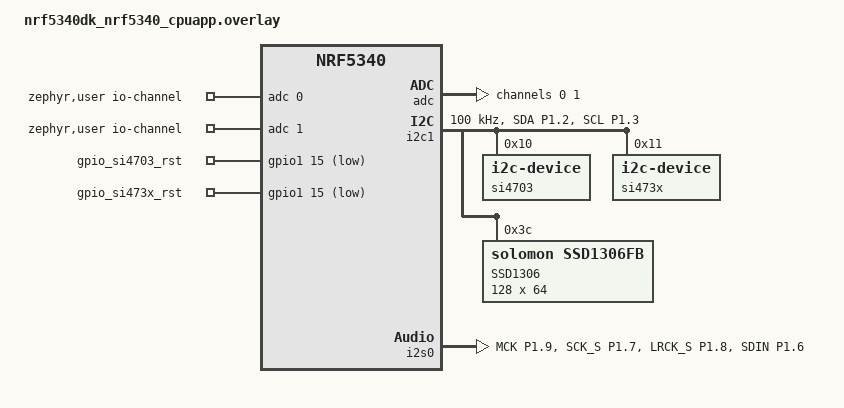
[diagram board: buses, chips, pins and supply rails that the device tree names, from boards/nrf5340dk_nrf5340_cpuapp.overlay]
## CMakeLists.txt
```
cmake_minimum_required(VERSION 3.20.0)

set(PROJ_ROOT ${CMAKE_CURRENT_SOURCE_DIR})
set(BOARD_ROOT ${CMAKE_CURRENT_SOURCE_DIR}/..)
set(TREE_ROOT ${CMAKE_CURRENT_SOURCE_DIR}/../..)
set(COMPONENTS_DIR ${TREE_ROOT}/components)
set(DRIVERS_DIR ${TREE_ROOT}/drivers)
set(APPLICATION_DIR ${PROJ_ROOT}/src)

# include our common cmake functions
include(${TREE_ROOT}/helpers.cmake)

#list(APPEND OVERLAY_CONFIG "${PROJ_ROOT}/prj.conf")

list(APPEND DTS_ROOT ${TREE_ROOT})

find_package(Zephyr REQUIRED HINTS $ENV{ZEPHYR_BASE})
project(teslaradio)

add_component(settings)
add_component(asserts)
if(CONFIG_BT)
  add_component(ble)
endif()
add_component(tuner)
add_component(si4703)
add_component(si473x)
if(CONFIG_DISPLAY)
  add_component(ssd1306)
endif()
add_component(audioin)
add_component(tones)

set(APPLICATION_SRCS
  ${APPLICATION_DIR}/main.c
  ${APPLICATION_DIR}/usb_msc.c
  ${APPLICATION_DIR}/vfs.c
  ${APPLICATION_DIR}/vdisk.c
)

set(COMPONENTS_SRCS
)

target_sources(app PRIVATE
  ${APPLICATION_SRCS}
  ${COMPONENTS_SRCS}
)

target_include_directories(app PRIVATE
  ${APPLICATION_DIR}
)
```

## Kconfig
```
# Copyright (c) 2016 Wind River Systems, Inc.
# SPDX-License-Identifier: Apache-2.0

menuconfig USB_MASS_VSTORAGE
	bool "USB Mass Storage Device Class support"
	select DISK_ACCESS
	help
	  USB Mass Storage device class support

if USB_MASS_VSTORAGE

config MASS_STORAGE_DISK_NAME
	string "name of disk"
	default "tradio"

config MASS_STORAGE_INQ_VENDOR_ID
	string "T10 assigned vendor ID for inquiry (must be 8 characters)"
	default "ZEPHYR  "
	help
	  Vendor ID used for enquiry requests.
	  Spaces must be added to bring the string to 8 bytes.

config MASS_STORAGE_INQ_PRODUCT_ID
	string "Product ID for inquiry (must be 16 characters)"
	default "ZEPHYR USB DISK "
	help
	  Product ID used for enquiry requests.
	  Spaces must be added to bring the string to 16 bytes.

config MASS_STORAGE_INQ_REVISION
	string "Revision for inquiry (must be 4 characters)"
	default "0.01"
	help
	  Revision used for enquiry requests.
	  Spaces must be added to bring the string to 4 bytes.

config MASS_STORAGE_BULK_EP_MPS
	int
	default 512 if USB_DC_HAS_HS_SUPPORT
	default 64
	help
	  Mass storage device class bulk endpoints size

config MASS_STORAGE_STACK_SIZE
	int "Set stack size for mass storage thread"
	default 786 if SD_STACK
	default 512
	help
	  Stack size for mass storage disk operations thread

config APP_MSC_STORAGE_VRAM
	bool "Use virtual RAM disk and FAT file system"
	imply DISK_DRIVERS

endif

source "Kconfig.zephyr"
```

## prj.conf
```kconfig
# Common Configuration for Thread on Nordic DK boards

CONFIG_SIZE_OPTIMIZATIONS=y

# Both 5340 and 52840 have h/w float
CONFIG_FPU=y

# UART
CONFIG_UART_INTERRUPT_DRIVEN=y
CONFIG_SERIAL=y
CONFIG_GPIO=y
CONFIG_ADC=y
CONFIG_I2C=y
CONFIG_LED=y
CONFIG_PWM=y
CONFIG_I2S=y

CONFIG_DISPLAY=y

CONFIG_SSD1306=y
CONFIG_SSD1306_DEFAULT_CONTRAST=128
CONFIG_SSD1306_DEFAULT=y

CONFIG_CHARACTER_FRAMEBUFFER=y
CONFIG_CHARACTER_FRAMEBUFFER_USE_DEFAULT_FONTS=n

# Watchdog
CONFIG_WATCHDOG=y

# USB device
CONFIG_USB_DEVICE_STACK=y
CONFIG_USB_DEVICE_PRODUCT="Teslaradio"
CONFIG_USB_DEVICE_LOG_LEVEL_ERR=y
CONFIG_USB_MASS_STORAGE_LOG_LEVEL_INF=y
CONFIG_USB_DEVICE_PID=0x0008
CONFIG_USB_DEVICE_VID=0x0008
CONFIG_USB_DEVICE_INITIALIZE_AT_BOOT=n

CONFIG_USB_MASS_VSTORAGE=y

CONFIG_MASS_STORAGE_INQ_VENDOR_ID="BDodge  "
CONFIG_MASS_STORAGE_INQ_PRODUCT_ID="TeslaRadio Disk "
CONFIG_MASS_STORAGE_INQ_REVISION="0.01"
CONFIG_MASS_STORAGE_STACK_SIZE=512

# BlueTooth
CONFIG_BT=y
CONFIG_BT_SETTINGS=y
CONFIG_BT_PERIPHERAL=y
CONFIG_BT_DEVICE_NAME="Teslaradio"
CONFIG_BT_DEVICE_NAME_DYNAMIC=y
CONFIG_BT_MAX_CONN=2
CONFIG_BT_SMP=y
CONFIG_BT_MAX_PAIRED=2

# Bluetooth Buffer Configuration
CONFIG_BT_BUF_ACL_RX_SIZE=251
CONFIG_BT_BUF_ACL_TX_SIZE=251
CONFIG_BT_L2CAP_TX_MTU=247
CONFIG_BT_CTLR_DATA_LENGTH_MAX=251
CONFIG_BT_L2CAP_TX_BUF_COUNT=4

# set faster connection interval (15ms in 1.25ms units)
CONFIG_BT_PERIPHERAL_PREF_MIN_INT=12
CONFIG_BT_PERIPHERAL_PREF_MAX_INT=24
CONFIG_BT_PERIPHERAL_PREF_LATENCY=1
CONFIG_BT_PERIPHERAL_PREF_TIMEOUT=100

# Enable the BT NUS shell (for now)
CONFIG_SHELL_BT_NUS=y
CONFIG_SHELL_BT_NUS_TX_RING_BUFFER_SIZE=64
CONFIG_SHELL_BT_NUS_RX_RING_BUFFER_SIZE=64

# Enable Zephyr logging on Console, deferred mode makes a ring buffer
# for log output, immediate mode is a direct print to uart. Use
# deferred to non-block threads and to have a buffer to dump to see
# early boot for example from other shells
CONFIG_LOG=y

# -- Option A  log to ring buffer with thread pushing out.  since
#              we can have a few shell back-ends, set the log backend
#              to uart so the other shells dont get logs directly
#
CONFIG_LOG_MODE_DEFERRED=y
CONFIG_LOG_SPEED=y
CONFIG_SHELL_LOG_BACKEND=n
CONFIG_LOG_BACKEND_UART=y
CONFIG_LOG_OUTPUT=y
CONFIG_LOG_BACKEND_UART_AUTOSTART=y

# -- Option B  blocking direct to uart log
#CONFIG_LOG_MODE_IMMEDIATE=y
#CONFIG_LOG_MODE_MINIMAL=y

# console on UART, not RTT
CONFIG_CONSOLE=y
CONFIG_UART_CONSOLE=y
CONFIG_RTT_CONSOLE=n
CONFIG_USE_SEGGER_RTT=n

# Shell
CONFIG_SHELL=y
#this saves about 1k in buffers, and flash, but gets rid of system shell cmds
#CONFIG_SHELL_MINIMAL=y
# Needed to enable shell root command APIs
CONFIG_SHELL_CMDS_SELECT=y
CONFIG_SHELL_PROMPT_UART="tradio> "

# Include settings
CONFIG_FLASH=y
CONFIG_FLASH_PAGE_LAYOUT=y
CONFIG_FLASH_MAP=y
CONFIG_NVS=y
CONFIG_SETTINGS=y

# Hardware Info Support
CONFIG_HWINFO=y
CONFIG_HWINFO_NRF=y

# Generic networking options
CONFIG_NETWORKING=y

CONFIG_ASSERT=y
CONFIG_ASSERT_NO_COND_INFO=y

# Spi
CONFIG_SPI=y
CONFIG_SPI_NRFX=y

CONFIG_MAIN_STACK_SIZE=6500

# Use mbedtls s/w crypto since nordics psa doesnt support
# things like key deriviation
#
CONFIG_NRF_SECURITY=y
CONFIG_MBEDTLS_LEGACY_CRYPTO_C=y
CONFIG_MBEDTLS_USE_PSA_CRYPTO=y
CONFIG_MBEDTLS_PSA_CRYPTO_C=y
CONFIG_PSA_CRYPTO_DRIVER_OBERON=y
CONFIG_OBERON_BACKEND=y
CONFIG_MBEDTLS_ENABLE_HEAP=y
CONFIG_MBEDTLS_HEAP_SIZE=8192
CONFIG_MBEDTLS_PK_WRITE_C=y
CONFIG_MBEDTLS_AES_C=y
CONFIG_MBEDTLS_CIPHER_MODE_CBC=y
CONFIG_MBEDTLS_ECP_C=y
CONFIG_MBEDTLS_GCM_C=y
CONFIG_MBEDTLS_CHACHA20_C=y
CONFIG_MBEDTLS_CTR_DRBG_C=y
```

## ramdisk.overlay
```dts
/ {
	soc {
		flash_controller2: flash-controller@2 {
			compatible = "zephyr,sim-flash";
			reg = <0x00000000 DT_SIZE_K(32)>;

			#address-cells = <1>;
			#size-cells = <1>;
			erase-value = <0xff>;

			flash_sim0: flash_sim@0 {
				status = "okay";
				compatible = "soc-nv-flash";
				erase-block-size = <512>;
				write-block-size = <1>;
				reg = <0x00000000 DT_SIZE_K(32)>;

				partitions {
					compatible = "fixed-partitions";
					#address-cells = <1>;
					#size-cells = <1>;

					lfsram_partition: partition@0 {
						label = "lfsram";
						reg = <0x00000000 0x000008000>;
					};
				};
			};
		};
	};
};

/ {
	fstab {
		compatible = "zephyr,fstab";
		lfsram: lfsram {
			compatible = "zephyr,fstab,littlefs";
			mount-point = "/lfsram";
			partition = <&lfsram_partition>;
			automount;
			read-size = <16>;
			prog-size = <16>;
			cache-size = <64>;
			lookahead-size = <32>;
			block-cycles = <512>;
		};
	};
};
```

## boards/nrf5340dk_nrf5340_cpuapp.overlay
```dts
&gpiote {
    status = "okay";
};

&gpio0 {
    status = "okay";
};

&gpio1 {
    status = "okay";
};


/ {
	zephyr,user {
		io-channels = <&adc 0>, <&adc 1>;
	};
};

&adc {
	#address-cells = <1>;
	#size-cells = <0>;

	channel@0 {
		reg = <0>;
		zephyr,gain = "ADC_GAIN_1_6";
		zephyr,reference = "ADC_REF_INTERNAL";
		zephyr,acquisition-time = <ADC_ACQ_TIME_DEFAULT>;
		zephyr,input-positive = <NRF_SAADC_AIN0>; /* P0.04 */
		zephyr,resolution = <14>;
	};

	channel@1 {
		reg = <1>;
		zephyr,gain = "ADC_GAIN_1_6";
		zephyr,reference = "ADC_REF_INTERNAL";
		zephyr,acquisition-time = <ADC_ACQ_TIME_DEFAULT>;
		zephyr,input-positive = <NRF_SAADC_AIN1>; /* P0.05 */
		zephyr,resolution = <14>;
	};
};

&i2c1 {
    compatible = "nordic,nrf-twim";
	zephyr,flash-buf-max-size = <2048>;
    status = "okay";
    clock-frequency = <I2C_BITRATE_STANDARD>;
    pinctrl-0 = <&i2c1_default>;
    pinctrl-1 = <&i2c1_sleep>;
    pinctrl-names = "default", "sleep";

    /* SI4703 FM Radio*/
    si4703: si4703@10 {
        compatible = "i2c-device";
        reg = <0x10>;
        status = "okay";
    };

    /* SI4732 FM Radio*/
    si473x: si473x@11 {
        compatible = "i2c-device";
        reg = <0x11>;
        status = "okay";
    };

	/* SSD1306 OLED display */
    display: ssd1306@3c {
        compatible = "solomon,ssd1306fb";
        reg = <0x3c>;
        label = "SSD1306";
        height = <64>;
        width  = <128>;
        segment-offset  = <0>;
        page-offset     = <0>;
        display-offset  = <0>;
        multiplex-ratio = <31>;
        prechargep      = <0xD1>;
        segment-remap;
        com-invdir;
        com-sequential;
    };
};

&clock {
	hfclkaudio-frequency = <11289600>;
};

i2s_rx: &i2s0 {

	status = "okay";
	pinctrl-0 = <&i2s0_default>;
	pinctrl-1 = <&i2s0_sleep>;
	pinctrl-names = "default", "sleep";
	clock-source = "ACLK";
//	clock-source = "PCLK32M";
};

/ {
    gpios {
        compatible = "gpio-leds";

        gpio_si4703_rst: gpio_si4703_rst {
            gpios = <&gpio1 15 (GPIO_ACTIVE_LOW | GPIO_PUSH_PULL)>;
            status = "okay";
        };
        gpio_si473x_rst: gpio_si473x_rst {
            gpios = <&gpio1 15 (GPIO_ACTIVE_LOW | GPIO_PUSH_PULL)>;
            status = "okay";
        };
	};
};

&pinctrl {
	i2c1_default: i2c1_default {
		group1 {
			psels = <NRF_PSEL(TWIM_SDA, 1, 2)>,
				<NRF_PSEL(TWIM_SCL, 1, 3)>;
	        bias-pull-up;
		};
	};

	i2c1_sleep: i2c1_sleep {
		group1 {
			psels = <NRF_PSEL(TWIM_SDA, 1, 2)>,
				<NRF_PSEL(TWIM_SCL, 1, 3)>;
			low-power-enable;
	        bias-pull-up;
		};
	};

	i2s0_default: i2s0_default {
		group1 {
			psels =	<NRF_PSEL(I2S_MCK, 1, 9)>,			// Master Clock
					<NRF_PSEL(I2S_SCK_S, 1, 7)>,		// Bit Clock
					<NRF_PSEL(I2S_LRCK_S, 1, 8)>,		// Word Selection Clock
					<NRF_PSEL(I2S_SDIN, 1, 6)>;			// Data in
		};
	};

	i2s0_sleep: i2s0_sleep {
		group1 {
			low-power-enable;
			psels =	<NRF_PSEL(I2S_MCK, 1, 9)>,			// Master Clock
					<NRF_PSEL(I2S_SCK_S, 1, 7)>,		// Bit Clock
					<NRF_PSEL(I2S_LRCK_S, 1, 8)>,		// Word Selection Clock
					<NRF_PSEL(I2S_SDIN, 1, 6)>;			// Data in
		};
	};

};
```

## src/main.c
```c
#include <stdio.h>
#include <zephyr/kernel.h>
#include "autoconf.h"
#include <zephyr/logging/log.h>
LOG_MODULE_REGISTER(main, LOG_LEVEL_INF);

#include "asserts.h"
#if CONFIG_DISPLAY
#include "display.h"
#endif
#if CONFIG_BT
#include "tr_ble.h"
#endif
#include "settings.h"
#include "audioin.h"
#include "si4703.h"
#include "si473x.h"
#include "vfs.h"

static uint32_t s_requested_freq;
static bool s_have_display;
static bool s_have_tuner;

int TunerRequestTuneTo(uint32_t freq_kHz)
{
    s_requested_freq = freq_kHz;
    return 0;
}

#if CONFIG_DISPLAY
static void UpdateDisplay(void)
{
    //static char rds_name[65];
    static char rds_text[65];
    static uint32_t rds_offset;
    static uint64_t rds_scroll;
    static uint32_t freq;
    static bool stereo;

    char rds_display[65];
    uint32_t curfreq;
    uint8_t  currssi;
    bool     curstereo;
    const char *rdsn;
    const char *rdst;

    int ret;

    if (!s_have_display)
    {
        return;
    }

    ret = TunerGetTunedStationFreq(&curfreq);
    ret = TunerGetTunedStationRSSI(&currssi, &curstereo);
    ret = TunerGetTunedStationRDS(&rdsn, &rdst);

    if (!ret)
    {
        char freqtext[8];
        bool rds_dirty = false;
        int i;

        snprintf(freqtext, sizeof(freqtext), "%5.1f", (float)curfreq / 1000.0);

        if (curfreq != freq)
        {
            DisplaySetFont(32);
            DisplayText(0, 4, "      ");
            DisplayText(0, 4, freqtext);
            freq = curfreq;
        }
        if (curstereo != stereo)
        {
            DisplaySetFont(8);
            DisplayText(100, 10, curstereo ? "ST" : "  ");
            stereo = curstereo;
        }

        if (true)
        {
#if 0
            if (memcmp(rdsn, rds_name, sizeof(rds_name)))
            {
                LOG_INF("New RDSN %s", rdsn);
                memcpy(rds_name, rdsn, sizeof(rds_name));
                DisplaySetFont(8);
                DisplayText(0, 0, "                      ");
                DisplayText(8, 0, rds_name);
            }
#endif
#if 1
            uint64_t now = k_uptime_get();
            int rds_room = 24;

            if (memcmp(rdst, rds_text, sizeof(rds_text)))
            {
                LOG_INF("New RDST %s", rdst);
                memcpy(rds_text, rdst, sizeof(rds_text));
                rds_offset = 0;
                rds_dirty = true;
            }

            int rds_len = strlen(rds_text);

            if (rds_len > rds_room)
            {
                if ((now - rds_scroll) > 600)
                {
                    rds_dirty = true;
                    rds_offset++;
                }
            }

            if (rds_dirty)
            {
                uint32_t offset;

                if (rds_len <= rds_room)
                {
                    rds_offset = 0;
                }
                else
                {
                    rds_offset %= rds_len;
                }

                offset = rds_offset;

                for (i = 0; i < rds_room; i++)
                {
                    if (offset >= rds_len)
                    {
                        offset = 0;
                    }

                    if (offset >= rds_len)
                    {
                        rds_display[i] = ' ';
                    }
                    else
                    {
                        rds_display[i] = rds_text[offset];
                        offset++;
                    }
                }

                rds_display[i] = '\0';
                DisplaySetFont(8);
                DisplayText(8, 0, rds_display);
                rds_dirty = false;
            }
        }
#endif
    }
}
#endif

int main(void)
{
    int ret;
    struct station_info *station_list;

    printk("-- Hello --");

    uint32_t delay = 2000;
    uint32_t min_delay;

    ret = SettingsInit();
    require_noerr(ret, exit);

    s_have_display = false;
#if CONFIG_DISPLAY
    ret = DisplayInit();
    if (!ret)
    {
        s_have_display = true;
    }
#endif
    station_list = NULL;
    s_have_tuner = false;

#if CONFIG_473X_DIGITAL
    // init audio as controller (not controllee) since 473x needs
    // to be the controllee in digital mode
    //
    ret = AudioInit(false);
#else
    // be I2S controllee normally
    //
    ret = AudioInit(false);
#endif
    require_noerr(ret, exit);

    // start Audio pipe before starting tuner so mclk is
    // running for digital mode
    //
    AudioStart();

    // bring up i2c tunner, volume set to 0
    //
    ret = TunerInit(SI473XGetRadio(), TUNER_SEEK_BETTER);
    if (ret)
    {
        ret = TunerInit(SI4703GetRadio(), TUNER_SEEK_BETTER);
    }

    if (ret)
    {
        LOG_ERR("No radio found");
    }
    else
    {
        LOG_INF("Tuner Initialied");
        s_have_tuner = true;
    }

#if CONFIG_BT
    ret = BLEinit(CONFIG_BT_DEVICE_NAME);
    require_noerr(ret, exit);
#endif

    bool got_stations = true; // set to false to do a disco on startup
    bool setup_vdisk = false;
    bool tuner_ready = false;
    tuner_state_t tuner_state;

    if (!s_have_tuner)
    {
        ret = vfs_init(station_list, 0, s_have_tuner);
        setup_vdisk = true;
    }
    else
    {
        // using usbms interface, go to near full volume for
        // best dynamic range of A/D
        //
        TunerSetVolume(95);
    }

    while (true)
    {
        min_delay = delay;
        delay = 200;

#if CONFIG_BT
        ret = BLEslice(&delay);
        if (delay < min_delay)
        {
            min_delay = delay;
        }
#endif
        if (s_have_tuner)
        {
            ret = TunerSlice(&delay, &tuner_state);
            if (delay < min_delay)
            {
                min_delay = delay;
            }

            tuner_ready = tuner_state == TUNER_READY || tuner_state == TUNER_TUNED;

            if (tuner_ready && !got_stations)
            {
                got_stations = true;

                TunerDiscoverStations();
            }
            else if (tuner_ready && got_stations && !setup_vdisk)
            {
                uint32_t num_stations;

                ret = TunerGetStations(&station_list, &num_stations);
                if (!ret)
                {
                    setup_vdisk = true;

                    ret = vfs_init(station_list, num_stations, s_have_tuner);
                    if (ret)
                    {
                        break;
                    }
                }
            }
            else if (tuner_ready)
            {
                if (s_requested_freq != 0)
                {
                    LOG_INF("TUNE --------- Requested freg %u", s_requested_freq);
                    TunerTuneTo(s_requested_freq);
                    s_requested_freq = 0;
                }
#if CONFIG_DISPLAY
                else if (s_have_display && tuner_state == TUNER_TUNED)
                {
                    UpdateDisplay();
                }
#endif
            }
        }

        k_msleep(min_delay);
    }
exit:
    while (true)
    {
        k_sleep(K_MSEC(3000));
    }

    return ret;
}
```

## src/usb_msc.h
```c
#pragma once

int mass_storage_init(void);
```

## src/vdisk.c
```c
#include "vdisk.h"
#include "asserts.h"
#include "audioin.h"
#include <zephyr/types.h>
#include <zephyr/drivers/disk.h>
#include <zephyr/init.h>
#include <zephyr/device.h>
#include <zephyr/logging/log.h>
#include <string.h>
#include <errno.h>

LOG_MODULE_REGISTER(vdisk, CONFIG_DISK_LOG_LEVEL);

#include "fs_sects.c"

//#define SECTION_MAX (sizeof(section_sectors)/sizeof(struct sect_desc))

#define VFAT_SECTOR_COUNT ((uint32_t)(VFAT_VOLUME_SIZE / VFAT_SECTOR_SIZE))

#include "taunt.h"

static uint8_t s_wav_header_live[] = {
  0x52, 0x49, 0x46, 0x46,   // "RIFF"
  0x28, 0x00, 0x00, 0x80,   // file size 2Gb + 40
  0x57, 0x41, 0x56, 0x45,   // "WAVE"
  0x66, 0x6d, 0x74, 0x20,   // "fmt<space>"
  0x10, 0x00, 0x00, 0x00,   // fmt section byte length
  0x01, 0x00,               // PCM format (1)
  0x02, 0x00,               // channels (2)
  0x44, 0xac, 0x00, 0x00,   // sample rate 44100
  0x10, 0xb1, 0x02, 0x00,   // bitrate 176400
  0x04, 0x00,               // 4 bytes for frame
  0x10, 0x00,               // 16 bits per sample
  0x64, 0x61, 0x74, 0x61,   // "data"
  0x00, 0x00, 0x00, 0x80    // data section byte length - 2Gb
};

static uint8_t s_wav_header_dead[] = {
  0x52, 0x49, 0x46, 0x46,   // "RIFF"
  0x8c, 0x64, 0x01, 0x00,   // file size
  0x57, 0x41, 0x56, 0x45,   // "WAVE"
  0x66, 0x6d, 0x74, 0x20,   // "fmt "
  0x10, 0x00, 0x00, 0x00,   // fmt section byte length
  0x01, 0x00,               // PCM format (1)
  0x01, 0x00,               // channels (1)
  0xf1, 0x56, 0x00, 0x00,   // sample rate 22257
  0xf1, 0x56, 0x00, 0x00,   // bitrate - same
  0x01, 0x00,               // 1 byte per frame
  0x08, 0x00,               // 8 bits per sample
  0x64, 0x61, 0x74, 0x61,   // "data"
  0x00, 0x00, 0x00, 0x80    // data section length - 2Gb
};

#define WAV_HEADER_SIZE (sizeof(s_wav_header_live))

static uint32_t s_start_sectors[VFAT_ROOT_DIR_COUNT];
static uint32_t s_start_stations[VFAT_ROOT_DIR_COUNT];
static uint32_t s_num_stations;
static bool s_have_tuner;

static int disk_ram_access_status(struct disk_info *disk)
{
    return DISK_STATUS_OK;
}

static int disk_ram_access_init(struct disk_info *disk)
{
    return 0;
}

static int disk_ram_access_read(struct disk_info *disk, uint8_t *buff,
                                uint32_t sector, uint32_t count)
{
    uint32_t last_sector = sector + count;
    uint32_t remain;
    uint32_t section;

    if (last_sector < sector || last_sector > VFAT_SECTOR_COUNT)
    {
        LOG_INF("Sector %u is outside the range %u",
                last_sector, VFAT_SECTOR_COUNT);
        return -EIO;
    }

    // search through section description to get section the start sector is in
    //
    for (section = 0; section < SECTION_MAX; section++)
    {
        if (sector >= section_sectors[section].start_sector && sector < (section_sectors[section].start_sector + section_sectors[section].count))
        {
            break;
        }
    }

    if (section >= SECTION_MAX)
    {
        LOG_ERR("sector %u isn't in our fs", sector);
        memset(buff, 0, count * VFAT_SECTOR_SIZE);
        return 0;
    }

    //LOG_INF("read %u %d", sector, count);

    sector -= section_sectors[section].start_sector;
    remain = section_sectors[section].count - sector;

    if (section == SECTION_FAT)
    {
        // synthesize FAT sectors
        while (count > 0 && remain > 0)
        {
            uint32_t *fatptr;
            uint32_t fatdex;
            uint32_t cluster;

            fatptr = (uint32_t *)buff;

            cluster = 1 + sector * VFAT_SECTOR_SIZE / 4;

            if (sector <= 512)
            {
                for (fatdex = 0; fatdex < VFAT_SECTOR_SIZE / 4; fatdex++)
                {
                    fatptr[fatdex] = cluster++;
                }

                if (sector == 0)
                {
                    // first three fat entries fixed/reserved
                    fatptr[0] = 0xFFFFFFF8;
                    fatptr[1] = 0xFFFFFFFF;
                    fatptr[2] = 0x0FFFFFFF;
                }
                else if (sector == 512) /* 2mb file fat ends 2 entries into sector 512 */
                {
                    int filedex = 1;

                    // put the EOC mark properly on the first file
                    //
                    fatptr[2] = 0x0FFFFFFF;

                    // This is where the magic happens
                    //
                    // in sector 512 of the FAT, the first three entries are the last two cluster ptrs of
                    // our first 2Gb file and its EOC.  That means all our other files (of 1024 bytes each)
                    // should have one cluster entry and one EOC starting at the third entry.
                    //
                    // I change the cluster ptr to point at the second cluster of the first file
                    // (the first cluster is 3) so that the second cluster of the file points
                    // to sector 64 and so on, just like the first file.
                    //
                    // the first cluster sectors are read-back special with the wav header prepended
                    // and we hand-offset the sector numbers by remembering where the file's first
                    // sector is when we parse the root dir.
                    //
#if 1
                    for (fatdex = 3; fatdex < VFAT_SECTOR_SIZE / 4; fatdex+= 2)
                    {
                        if (filedex < VFAT_ROOT_DIR_COUNT)
                        {
                            fatptr[fatdex] = 4;
                            fatptr[fatdex + 1] = 0x0FFFFFFF; // EOC for safety
                        }
                        else
                        {
                            fatptr[fatdex] = 0;
                            fatptr[fatdex + 1] = 0;
                        }

                        filedex++;
                    }
#else
                    // this makes each file look like it takes one cluster
                    // like the original generate fat looked like
                    //
                    for (fatdex = 3; fatdex < VFAT_SECTOR_SIZE / 4; fatdex+= 2)
                    {
                        if (filedex < VFAT_ROOT_DIR_COUNT)
                        {
                            fatptr[fatdex] = cluster++;
                            fatptr[fatdex + 1] = 0x0FFFFFFF; // EOC for safety
                            cluster++;
                        }
                        else
                        {
                            fatptr[fatdex] = 0;
                            fatptr[fatdex + 1] = 0;
                        }

                        filedex++;
                    }
#endif
                }
            }
            else
            {
                memset(fatptr, 0, VFAT_SECTOR_SIZE);
            }

            fatptr += VFAT_SECTOR_SIZE / 4;
            sector++;
            count--;
            remain--;
        }
    }
    else if (section == SECTION_DATA)
    {
        uint32_t *src_ptr;
        uint32_t *dst_ptr;
        uint32_t sector_offset = 0;
        int srcdex;
        int dstdex;
        int copy_cnt;
        bool is_start_sector = false;

        dst_ptr = (uint32_t *)buff;
        dstdex = 0;

        // reading data from the starting sector of (one of) s wav file means
        // wanting to tune to that station index if there are multiple files
        //
        for (int ss = 0; ss < VFAT_ROOT_DIR_COUNT; ss++)
        {
            if (sector == s_start_sectors[ss])
            {
                if (VFAT_ROOT_DIR_COUNT > 1)
                {
                    LOG_INF("data read at sec %u starts wav file index %d", sector, ss);

                    if (s_have_tuner)
                    {
                        // tune to this station
                        if (s_start_stations[ss] != 0)
                        {
                           TunerRequestTuneTo(s_start_stations[ss]);
                        }
                    }

                    // start i2s stream if not running already
                    //
                    if (!AudioActive())
                    {
                        AudioStart();
                    }
                }

                is_start_sector = true;
                break;
            }

            if (
                    ss > 0
                &&  sector > s_start_sectors[ss]
                && (
                        (ss == VFAT_ROOT_DIR_COUNT - 1)
                    ||  (sector < s_start_sectors[ss + 1])
                )
            )
            {
                // the sector is within the first cluster of a file above the first file, after the start,
                // so map that as if its the same relative sector in the first file
                //
                sector_offset = s_start_sectors[ss] - s_start_sectors[0];
                break;
            }
        }

        while (count > 0 && remain > 0)
        {
            LOG_DBG("in sector %u (offset=%u)", sector - sector_offset, sector_offset);

            // synthesize data
            if (is_start_sector)
            {
                int hdrdex = 0;

                is_start_sector = false;

                if (s_have_tuner)
                {
                    src_ptr = (uint32_t *)s_wav_header_live;
                }
                else
                {
                    src_ptr = (uint32_t *)s_wav_header_dead;
                }

                // prepend wave header
                while (dstdex < WAV_HEADER_SIZE / 4)
                {
                    dst_ptr[dstdex++] = src_ptr[hdrdex++];
                }

                srcdex = 0;
                copy_cnt = VFAT_SECTOR_SIZE - WAV_HEADER_SIZE;
            }
            else
            {
                srcdex = ((sector - sector_offset) * VFAT_SECTOR_SIZE - WAV_HEADER_SIZE) % taunt_wav_len;
                copy_cnt = VFAT_SECTOR_SIZE;
            }

            if (AudioActive())
            {
                // if audio pipe is active, source data from it except first sector
                // which we fill with 0
                //
                if (is_start_sector)
                {
                    srcdex /= 4;
                    copy_cnt /= 4;

                    while (copy_cnt > 0)
                    {
                        dst_ptr[dstdex++] = 0;
                        copy_cnt--;
                    }
                }
                else
                {
                    void *samples;
                    size_t sample_bytes;
                    int timer;
                    int ret;

                    srcdex = 0;
                    sample_bytes = 0;
                    samples = NULL;
                    timer = 1500;

                    while (timer > 0)
                    {
                        // timeout getting samples
                        ret = AudioGetSamples(&samples, &sample_bytes);
                        if (!ret)
                        {
                            verify(sample_bytes == VFAT_SECTOR_SIZE);
                            break;
                        }

                        timer-= 10;
                        k_msleep(10);
                    }

                    if (sample_bytes > 0)
                    {
                        src_ptr = (uint32_t *)samples;
                        copy_cnt = sample_bytes / 4;
                        while (copy_cnt > 0)
                        {
                            dst_ptr[dstdex++] = src_ptr[srcdex++];
                            copy_cnt--;
                        }
                    }
                    else
                    {
                        LOG_WRN("underrun");

                        copy_cnt = sample_bytes / 4;
                        while (copy_cnt > 0)
                        {
                            dst_ptr[dstdex++] = 0;
                            copy_cnt--;
                        }
                    }
                }
            }
            else
            {
                // audio pipe not active, source data from canned file
                //
                src_ptr = (uint32_t *)taunt_wav;
                srcdex /= 4;
                copy_cnt /= 4;

                while (copy_cnt > 0)
                {
                    dst_ptr[dstdex++] = src_ptr[srcdex++];

                    if (srcdex >= taunt_wav_len / 4)
                    {
                        srcdex = 0;
                    }

                    copy_cnt--;
                }
            }

            sector++;
            count--;
            remain--;
        }
    }
    else
    {
        while (count > 0 && remain > 0)
        {
            if (section_sectors[section].sectors)
            {
                const uint8_t *psect = section_sectors[section].sectors[sector];

                if (psect)
                {
                    memcpy(buff, psect, VFAT_SECTOR_SIZE);
                }
                else
                {
                    memset(buff, 0, VFAT_SECTOR_SIZE);
                }
            }
            else
            {
                memset(buff, 0, VFAT_SECTOR_SIZE);
            }

            sector++;
            count--;
            remain--;
        }
    }

    if (count > 0)
    {
        LOG_ERR("sector read crossed section boundary at %u", sector);
    }
    return 0;
}

static int disk_ram_access_write(struct disk_info *disk, const uint8_t *buff,
                                 uint32_t sector, uint32_t count)
{
    return -EIO;
}

static int disk_ram_access_ioctl(struct disk_info *disk, uint8_t cmd, void *buff)
{
    switch (cmd)
    {
    case DISK_IOCTL_CTRL_SYNC:
        break;

    case DISK_IOCTL_GET_SECTOR_COUNT:
        *(uint32_t *)buff = VFAT_VOLUME_SIZE / VFAT_SECTOR_SIZE;
        break;

    case DISK_IOCTL_GET_SECTOR_SIZE:
        *(uint32_t *)buff = VFAT_SECTOR_SIZE;
        break;

    case DISK_IOCTL_GET_ERASE_BLOCK_SZ:
        *(uint32_t *)buff  = 1U;
        break;

    default:
        return -EINVAL;
    }

    return 0;
}

static const struct disk_operations ram_disk_ops =
{
    .init = disk_ram_access_init,
    .status = disk_ram_access_status,
    .read = disk_ram_access_read,
    .write = disk_ram_access_write,
    .ioctl = disk_ram_access_ioctl,
};

static struct disk_info ram_disk =
{
    .name = CONFIG_MASS_STORAGE_DISK_NAME,
    .ops = &ram_disk_ops,
};

#define AT_READ_ONLY    0x01
#define AT_HIDDEN       0x02
#define AT_SYSTEM       0x04
#define AT_VOLUME_ID    0x08
#define AT_DIRECTORY    0x10
#define AT_ARCHIVE      0x20
#define AT_LFN          (AT_READ_ONLY|AT_HIDDEN|AT_SYSTEM|AT_VOLUME_ID) /* 0x0F */

#define AT_OFF          11
#define CLUST_HIGH      20
#define CLUST_LOW       26
#define SIZE_OFF        28
#define CSUM_OFF        13

uint8_t vdisk_csum_lfn(const char *name)
{
    uint8_t sum;
    uint8_t i;

    for (sum = i = 0; i < 11; i++)
    {
        sum = (((sum & 1) << 7) | ((sum & 0xFE) >> 1)) + (uint8_t)name[i];
    }

    return sum;
}

void vdisk_get_newfilename(struct station_info *stations, uint32_t num_stations, int fileindex, char *newlfn, uint32_t newlfn_size)
{
    int len;

    memset(newlfn, '_', VFAT_MAX_FILENAME - 4);
    snprintf(newlfn + VFAT_MAX_FILENAME - 4, 5, ".wav");

    if (stations && num_stations)
    {
        if (fileindex < num_stations)
        {
            uint32_t freqmhz = stations[fileindex].freq_kHz / 1000;

            len = snprintf(newlfn, newlfn_size - 1, "%u_%1u_MHz", freqmhz,
                        stations[fileindex].freq_kHz / 100 - freqmhz * 10);
        }
        else
        {
            len = snprintf(newlfn, newlfn_size - 1, "-");
        }

        newlfn[len] = '_';

       // LOG_INF("Change name %d =%s=", fileindex, newlfn);
    }
}

void vdisk_setup_dir(struct station_info *stations, uint32_t num_stations)
{
    char lfnbuf[VFAT_MAX_FILENAME + 14];
    char newlfn[VFAT_MAX_FILENAME + 14];
    uint8_t entry[32];
    uint32_t ent_off = 0;
    uint32_t slen = section_sectors[SECTION_ROOTDIR].count * VFAT_SECTOR_SIZE;
    uint8_t attr;
    uint32_t lfndex = 0;
    uint32_t newdex = 0;
    uint32_t filenum = 0;

    uint32_t first_cluster = 0;
    uint32_t first_size = 0;

    memset(s_start_sectors, 0, sizeof(s_start_sectors));
    memset(s_start_stations, 0, sizeof(s_start_stations));

    vdisk_get_newfilename(stations, num_stations, filenum, newlfn, sizeof(newlfn));

    while (ent_off < slen && filenum < VFAT_ROOT_DIR_COUNT)
    {
        // read dir entry
        memcpy(entry, section_sectors[SECTION_ROOTDIR].sectors[0] + ent_off, 32);

        attr = entry[AT_OFF];
        if (attr == AT_LFN)
        {
            bool is_last = (entry[0] & 0x40) != 0;
            uint8_t order = (entry[0] & 0x0F);

            if (order < 1)
            {
                LOG_ERR("fname order issue");
                order = 1;
            }

            if (is_last)
            {
                memset(lfnbuf, 0, sizeof(lfnbuf));
            }

            lfndex = (order - 1) * 13;
            newdex = lfndex;

            if ((lfndex + 13) >= sizeof(lfnbuf))
            {
                LOG_ERR("fname overflow");
            }
            else
            {
                int sdex = lfndex;

                lfnbuf[lfndex++] = entry[1];
                lfnbuf[lfndex++] = entry[3];
                lfnbuf[lfndex++] = entry[5];
                lfnbuf[lfndex++] = entry[7];
                lfnbuf[lfndex++] = entry[9];
                lfnbuf[lfndex++] = entry[14];
                lfnbuf[lfndex++] = entry[16];
                lfnbuf[lfndex++] = entry[18];
                lfnbuf[lfndex++] = entry[20];
                lfnbuf[lfndex++] = entry[22];
                lfnbuf[lfndex++] = entry[24];
                lfnbuf[lfndex++] = entry[28];
                lfnbuf[lfndex++] = entry[30];

                for (int x = sdex; x < lfndex; x+= 2)
                {
                    if (lfnbuf[x] == 0xFF)
                    {
                        if (lfnbuf[x + 1] == 0xFF)
                        {
                            lfnbuf[x] = lfnbuf[x + 1] = 0;
                            newlfn[x] = 0xFF;
                            newlfn[x + 1] = 0xFF;
                        }
                    }
                }

                entry[1] = newlfn[newdex++];
                entry[3] = newlfn[newdex++];
                entry[5] = newlfn[newdex++];
                entry[7] = newlfn[newdex++];
                entry[9] = newlfn[newdex++];
                entry[14] = newlfn[newdex++];
                entry[16] = newlfn[newdex++];
                entry[18] = newlfn[newdex++];
                entry[20] = newlfn[newdex++];
                entry[22] = newlfn[newdex++];
                entry[24] = newlfn[newdex++];
                entry[28] = newlfn[newdex++];
                entry[30] = newlfn[newdex++];

                // replace dir entry
                memcpy((uint8_t*)section_sectors[SECTION_ROOTDIR].sectors[0] + ent_off, entry, 32);
            }
        }
        else
        {
            uint32_t cluster;
            uint32_t size;
            char sfn[16];

            for (int i = 0; i < 8; i++)
            {
                sfn[i] = entry[i];
            }
            sfn[8] = '.';
            for (int i = 0; i < 3; i++)
            {
                sfn[i + 9] = entry[i + 8];
            }
            sfn[12] = '\0';
            lfndex = 0;

            cluster  = (uint32_t)entry[CLUST_HIGH] << 16;
            cluster += (uint32_t)entry[CLUST_HIGH + 1] << 24;
            cluster += (uint32_t)entry[CLUST_LOW];
            cluster += (uint32_t)entry[CLUST_LOW + 1] << 8;

            size  = (uint32_t)entry[SIZE_OFF];
            size += (uint32_t)entry[SIZE_OFF + 1] << 8;
            size += (uint32_t)entry[SIZE_OFF + 2] << 16;
            size += (uint32_t)entry[SIZE_OFF + 3] << 24;

            LOG_DBG("File %d of %08X at %08X =%s= =%s=", filenum, size, cluster, sfn, lfnbuf);

            if (filenum == 0)
            {
                first_cluster = cluster;
                first_size = size;
            }
            else
            {
                if (0) // point all file's to the first files cluster chain (i.e. link) but add 1 for filenum
                {
                    entry[CLUST_LOW] = (first_cluster + 0) & 0xFF;
                    entry[CLUST_LOW + 1] = (first_cluster >> 8) & 0xFF;
                    entry[CLUST_HIGH] = (first_cluster >> 16) & 0xFF;
                    entry[CLUST_HIGH] = (first_cluster >> 24) & 0xFF;
                }
                if (1) // make it appear as same size as first files size
                {
                    entry[SIZE_OFF] = size & 0xFF;
                    entry[SIZE_OFF + 1] = (first_size >> 8) & 0xFF;
                    entry[SIZE_OFF + 2] = (first_size >> 16) & 0xFF;
                    entry[SIZE_OFF + 3] = (first_size >> 24) & 0xFF;
                }
                if (0) // make it read-only
                {
                    entry[AT_OFF] |= AT_READ_ONLY;
                }

                // replace dir entry
                memcpy((uint8_t*)section_sectors[SECTION_ROOTDIR].sectors[0] + ent_off, entry, 32);
            }

            // remember first sector of each file entry
            LOG_DBG("Set starting sector %08X for filenum %d", (cluster - 3) * 64, filenum);
            LOG_DBG("Set freq kHz %d for filenum %d", stations[filenum].freq_kHz, filenum);

            s_start_sectors[filenum] = (cluster - 3) * 64;
            s_start_stations[filenum] = stations[filenum].freq_kHz;

            filenum++;
            vdisk_get_newfilename(stations, num_stations, filenum, newlfn, sizeof(newlfn));
        }

        ent_off += 32;
    }
}

int vdisk_init(struct station_info *stations, uint32_t num_stations, bool have_tuner)
{
    s_have_tuner = have_tuner;
    s_num_stations = num_stations;

    if (VFAT_ROOT_DIR_COUNT > 1)
    {
        // using one-file-per-tunable-station mode, so list each
        // available station as its own file
        //
        vdisk_setup_dir(stations, num_stations);
    }

    return disk_access_register(&ram_disk);
}

//SYS_INIT(disk_ram_init, APPLICATION, CONFIG_KERNEL_INIT_PRIORITY_DEFAULT);
```

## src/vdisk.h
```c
#pragma once

#include "si4703.h"

int vdisk_init(struct station_info *stations, uint32_t num_stations, bool have_tuner);
```

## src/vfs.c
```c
/*
 * Copyright (c) 2016 Intel Corporation.
 * Copyright (c) 2019-2020 Nordic Semiconductor ASA
 * Copyright (c) 2024 Brian Dodge
 *
 * SPDX-License-Identifier: Apache-2.0
 */

#include "vfs.h"
#include "vdisk.h"
#include "usb_msc.h"
#include <zephyr/kernel.h>
#include <zephyr/logging/log.h>
#include <zephyr/usb/usb_device.h>
#include <zephyr/usb/usbd.h>
#include <zephyr/usb/class/usbd_msc.h>
#include <stdio.h>

LOG_MODULE_REGISTER(vfs);

#define STORAGE_PARTITION       storage_partition
#define STORAGE_PARTITION_ID    FIXED_PARTITION_ID(STORAGE_PARTITION)

#if defined(CONFIG_USB_DEVICE_STACK_NEXT)
USBD_CONFIGURATION_DEFINE(config_1,
                          USB_SCD_SELF_POWERED,
                          200);

USBD_DESC_LANG_DEFINE(tr_vdisk_lang);
USBD_DESC_MANUFACTURER_DEFINE(tr_vdisk_mfr, "BDodge");
USBD_DESC_PRODUCT_DEFINE(tr_vdisk_product, "Teslaradio Disk");
USBD_DESC_SERIAL_NUMBER_DEFINE(tr_vdisk_sn, "0123456789ABCDEF");


USBD_DEVICE_DEFINE(tr_vdisk_usbd,
                   DEVICE_DT_GET(DT_NODELABEL(zephyr_udc0)),
                   0x2fe3, 0x0008);

#if CONFIG_DISK_DRIVER_RAM
USBD_DEFINE_MSC_LUN(RAM, "BDodge", "TeslaRadio", "1.00");
#endif

static int enable_usb_device_next(void)
{
    int err;

    err = usbd_add_descriptor(&tr_vdisk_usbd, &tr_vdisk_lang);

    if (err)
    {
        LOG_ERR("Failed to initialize language descriptor (%d)", err);
        return err;
    }

    err = usbd_add_descriptor(&tr_vdisk_usbd, &tr_vdisk_mfr);

    if (err)
    {
        LOG_ERR("Failed to initialize manufacturer descriptor (%d)", err);
        return err;
    }

    err = usbd_add_descriptor(&tr_vdisk_usbd, &tr_vdisk_product);

    if (err)
    {
        LOG_ERR("Failed to initialize product descriptor (%d)", err);
        return err;
    }

    err = usbd_add_descriptor(&tr_vdisk_usbd, &tr_vdisk_sn);

    if (err)
    {
        LOG_ERR("Failed to initialize SN descriptor (%d)", err);
        return err;
    }

    err = usbd_add_configuration(&tr_vdisk_usbd, &config_1);

    if (err)
    {
        LOG_ERR("Failed to add configuration (%d)", err);
        return err;
    }

    err = usbd_register_class(&tr_vdisk_usbd, "msc_0", 1);

    if (err)
    {
        LOG_ERR("Failed to register MSC class (%d)", err);
        return err;
    }

    err = usbd_init(&tr_vdisk_usbd);

    if (err)
    {
        LOG_ERR("Failed to initialize device support");
        return err;
    }

    err = usbd_enable(&tr_vdisk_usbd);

    if (err)
    {
        LOG_ERR("Failed to enable device support");
        return err;
    }

    LOG_DBG("USB device support enabled");

    return 0;
}
#endif /* IS_ENABLED(CONFIG_USB_DEVICE_STACK_NEXT) */

int vfs_init(struct station_info *stations, uint32_t num_stations, bool have_tuner)
{
    int ret;

    do // try
    {
        ret = vdisk_init(stations, num_stations, have_tuner);

        if (ret)
        {
            LOG_ERR("Can't create virtual disk");
            break;
        }

#if defined(CONFIG_USB_DEVICE_STACK_NEXT)
        ret = enable_usb_device_next();
#else
        ret = usb_enable(NULL);
#endif
        if (ret)
        {
            LOG_ERR("Failed to enable USB");
            break;
        }

        ret = mass_storage_init();
        if (ret)
        {
            LOG_ERR("Can't start Mass-Storage");
            break;
        }

        LOG_INF("USB mass storage ready");
    }
    while (0); // catch

    return ret;
}
```

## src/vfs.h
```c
#pragma once

#include "si4703.h"

int vfs_init(struct station_info *stations, uint32_t num_stations, bool have_tuner);
```
